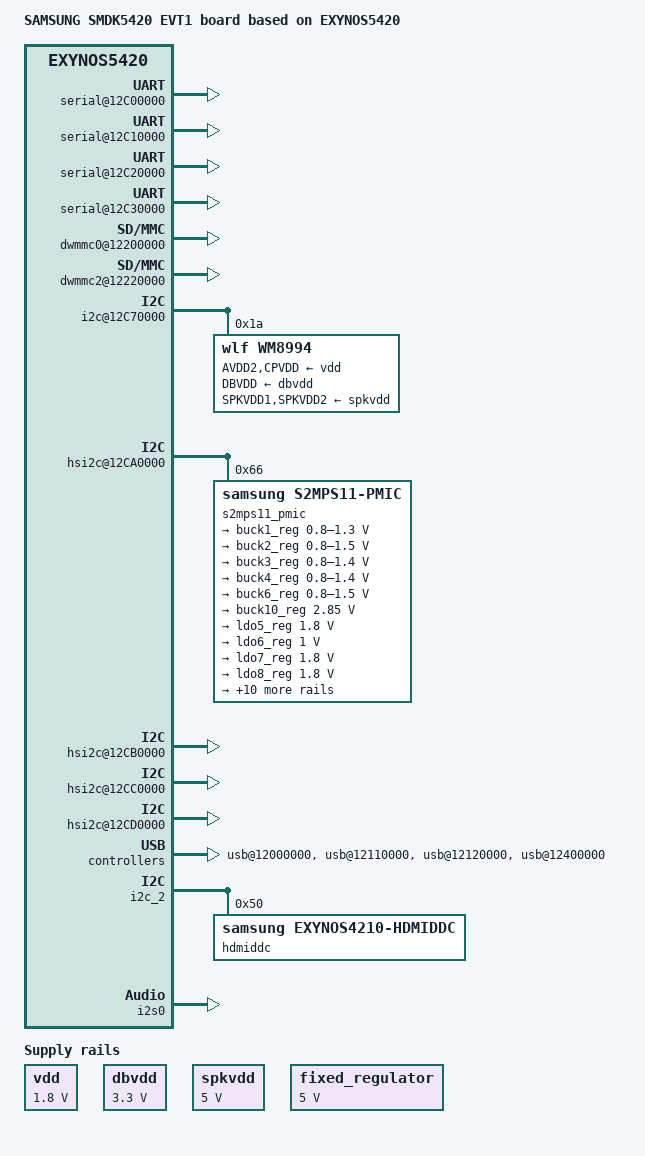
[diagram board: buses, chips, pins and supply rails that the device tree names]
/*
 * SAMSUNG SMDK5420 EVT1 board device tree source
 *
 * Copyright (c) 2013 Samsung Electronics Co., Ltd.
 *		http://www.samsung.com
 *
 * This program is free software; you can redistribute it and/or modify
 * it under the terms of the GNU General Public License version 2 as
 * published by the Free Software Foundation.
*/

/dts-v1/;
#include "exynos5420.dtsi"

/ {
	model = "SAMSUNG SMDK5420 EVT1 board based on EXYNOS5420";
	compatible = "samsung,smdk5420", "samsung,exynos5420";

	chosen {
		bootargs = "console=ttySAC3,115200";
	};

	fixed-rate-clocks {
		xxti {
			compatible = "samsung,clock-xxti";
			clock-frequency = <24000000>;
		};
	};

	watchdog {
		status = "okay";
	};

	rtc {
		status = "okay";
	};

	serial@12C00000 {
		status = "okay";
	};

	serial@12C10000 {
		status = "okay";
	};

	serial@12C20000 {
		status = "okay";
	};

	serial@12C30000 {
		status = "okay";
	};

	dwmmc0@12200000 {
		status = "okay";
		num-slots = <1>;
		broken-cd;
		bypass-smu;
		supports-highspeed;
		supports-hs200-mode; /* 200 Mhz */
		fifo-depth = <0x40>;
		card-detect-delay = <200>;
		samsung,dw-mshc-ciu-div = <3>;
		samsung,dw-mshc-sdr-timing = <0 4>;
		samsung,dw-mshc-ddr-timing = <0 2>;
		pinctrl-names = "default";
		pinctrl-0 = <&sd0_clk &sd0_cmd &sd0_bus4 &sd0_bus8>;

		slot@0 {
			reg = <0>;
			bus-width = <8>;
		};
	};

	dwmmc2@12220000 {
		status = "okay";
		num-slots = <1>;
		supports-highspeed;
		fifo-depth = <0x40>;
		card-detect-delay = <200>;
		samsung,dw-mshc-ciu-div = <3>;
		samsung,dw-mshc-sdr-timing = <2 3>;
		samsung,dw-mshc-ddr-timing = <1 2>;
		pinctrl-names = "default";
		pinctrl-0 = <&sd2_clk &sd2_cmd &sd2_cd &sd2_bus4>;

		slot@0 {
			reg = <0>;
			bus-width = <4>;
		};
	};

	vdd: fixed-regulator@0 {
		compatible = "regulator-fixed";
		regulator-name = "vdd-supply";
		regulator-min-microvolt = <1800000>;
		regulator-max-microvolt = <1800000>;
		regulator-always-on;
	};

	dbvdd: fixed-regulator@1 {
		compatible = "regulator-fixed";
		regulator-name = "dbvdd-supply";
		regulator-min-microvolt = <3300000>;
		regulator-max-microvolt = <3300000>;
		regulator-always-on;
	};

	spkvdd: fixed-regulator@2 {
		compatible = "regulator-fixed";
		regulator-name = "spkvdd-supply";
		regulator-min-microvolt = <5000000>;
		regulator-max-microvolt = <5000000>;
		regulator-always-on;
	};

	/* i2c1 */
	i2c@12C70000 {
		status = "okay";
		samsung,i2c-sda-delay = <100>;
		samsung,i2c-max-bus-freq = <20000>;

		wm8994: wm8994@1a {
			compatible = "wlf,wm8994";
			reg = <0x1a>;

			gpio-controller;
			#gpio-cells = <2>;

			AVDD2-supply = <&vdd>;
			CPVDD-supply = <&vdd>;
			DBVDD-supply = <&dbvdd>;
			SPKVDD1-supply = <&spkvdd>;
			SPKVDD2-supply = <&spkvdd>;
		};
	};

	/* hsi2c4 */
	hsi2c@12CA0000 {
		status = "okay";

		s2mps11_pmic@66 {
			compatible = "samsung,s2mps11-pmic";
			reg = <0x66>;
			s2mps11,buck2-ramp-delay = <12>;
			s2mps11,buck34-ramp-delay = <12>;
			s2mps11,buck16-ramp-delay = <12>;
			s2mps11,buck6-ramp-enable = <1>;
			s2mps11,buck2-ramp-enable = <1>;
			s2mps11,buck3-ramp-enable = <1>;
			s2mps11,buck4-ramp-enable = <1>;

			regulators {
				buck1_reg: BUCK1 {
					regulator-name = "vdd_mif";
					regulator-min-microvolt = <800000>;
					regulator-max-microvolt = <1300000>;
					regulator-always-on;
					regulator-boot-on;
				};

				buck2_reg: BUCK2 {
					regulator-name = "vdd_arm";
					regulator-min-microvolt = <800000>;
					regulator-max-microvolt = <1500000>;
					regulator-always-on;
					regulator-boot-on;
				};

				buck3_reg: BUCK3 {
					regulator-name = "vdd_int";
					regulator-min-microvolt = <800000>;
					regulator-max-microvolt = <1400000>;
					regulator-always-on;
					regulator-boot-on;
				};

				buck4_reg: BUCK4 {
					regulator-name = "vdd_g3d";
					regulator-min-microvolt = <800000>;
					regulator-max-microvolt = <1400000>;
					regulator-always-on;
					regulator-boot-on;
				};

				buck6_reg: BUCK6 {
					regulator-name = "vdd_kfc";
					regulator-min-microvolt = <800000>;
					regulator-max-microvolt = <1500000>;
					regulator-always-on;
					regulator-boot-on;
				};

				buck10_reg: BUCK10 {
					regulator-name = "vdd_vmem";
					regulator-min-microvolt = <2850000>;
					regulator-max-microvolt = <2850000>;
					regulator-always-on;
					regulator-boot-on;
				};

				ldo5_reg: LDO5 {
					regulator-name = "vdd_ldo5";
					regulator-min-microvolt = <1800000>;
					regulator-max-microvolt = <1800000>;
					regulator-always-on;
				};

				ldo6_reg: LDO6 {
					regulator-name = "vdd_ldo6";
					regulator-min-microvolt = <1000000>;
					regulator-max-microvolt = <1000000>;
					regulator-always-on;
				};

				ldo7_reg: LDO7 {
					regulator-name = "vdd_ldo7";
					regulator-min-microvolt = <1800000>;
					regulator-max-microvolt = <1800000>;
					regulator-always-on;
				};

				ldo8_reg: LDO8 {
					regulator-name = "vdd_ldo8";
					regulator-min-microvolt = <1800000>;
					regulator-max-microvolt = <1800000>;
					regulator-always-on;
				};

				ldo9_reg: LDO9 {
					regulator-name = "vdd_ldo9";
					regulator-min-microvolt = <3000000>;
					regulator-max-microvolt = <3000000>;
					regulator-always-on;
				};

				ldo10_reg: LDO10 {
					regulator-name = "vdd_ldo10";
					regulator-min-microvolt = <1800000>;
					regulator-max-microvolt = <1800000>;
					regulator-always-on;
				};

				ldo11_reg: LDO11 {
					regulator-name = "vdd_ldo11";
					regulator-min-microvolt = <1000000>;
					regulator-max-microvolt = <1000000>;
					regulator-always-on;
				};

				ldo12_reg: LDO12 {
					regulator-name = "vdd_ldo12";
					regulator-min-microvolt = <1800000>;
					regulator-max-microvolt = <1800000>;
					regulator-always-on;
				};

				ldo13_reg: LDO13 {
					regulator-name = "vdd_ldo13";
					regulator-min-microvolt = <2800000>;
					regulator-max-microvolt = <2800000>;
					regulator-always-on;
				};

				ldo15_reg: LDO15 {
					regulator-name = "vdd_ldo15";
					regulator-min-microvolt = <3100000>;
					regulator-max-microvolt = <3100000>;
					regulator-always-on;
				};

				ldo16_reg: LDO16 {
					regulator-name = "vdd_ldo16";
					regulator-min-microvolt = <2200000>;
					regulator-max-microvolt = <2200000>;
					regulator-always-on;
				};

				ldo17_reg: LDO17 {
					regulator-name = "tsp_avdd";
					regulator-min-microvolt = <3300000>;
					regulator-max-microvolt = <3300000>;
					regulator-always-on;
				};

				ldo19_reg: LDO19 {
					regulator-name = "vdd_sd";
					regulator-min-microvolt = <2800000>;
					regulator-max-microvolt = <2800000>;
					regulator-always-on;
				};


				ldo24_reg: LDO24 {
					regulator-name = "tsp_io";
					regulator-min-microvolt = <2800000>;
					regulator-max-microvolt = <2800000>;
					regulator-always-on;
				};
			};
		};
	};

	/* hsi2c5 */
	hsi2c@12CB0000 {
		status = "okay";
	};

	/* hsi2c6 */
	hsi2c@12CC0000 {
		status = "okay";
	};

	/* hsi2c7 */
	hsi2c@12CD0000 {
		status = "okay";
	};

	/* dw usb3_0 */
	usb@12000000 {
		status = "okay";
	};

	/* ehci */
	usb@12110000 {
		status = "okay";
	};

	/* ohci */
	usb@12120000 {
		status = "okay";
	};

	/* dw usb3_1 */
	usb@12400000 {
		status = "okay";
	};

	fimd {
		samsung,fimd-vidout-rgb;
		samsung,fimd-inv-vclk;
		samsung,default-window = <0>;
		samsung,cursor-window = <4>;
		samsung,fimd-win-bpp = <32>;
		samsung,fimd-src-clk-rate = <266000000>;
	};

	lcd_dp0: lcd_panel0 {
		lcd-htiming = <80 48 32 2560>;
		lcd-vtiming = <16 8 6 1600>;
		lcd-dimensions = <256 144>;
	};

	display-port-controller {
		samsung,dp-display = <&lcd_dp0>;
		samsung,dp-frame-rate = <60>;
		samsung,color-space = <0>;
		samsung,dynamic-range = <0>;
		samsung,ycbcr-coeff = <0>;
		samsung,color-depth = <1>;
		samsung,link-rate = <0x0a>;
		samsung,lane-count = <4>;
	};

	codec@11000000 {
		samsung,mfc-r = <0x43000000 0x800000>;
		samsung,mfc-l = <0x51000000 0x800000>;
	};

	hdmi {
		hpd-gpio = <&gpx3 7 0>;
		pinctrl-names = "default";
		pinctrl-0 = <&hdmi_hpd_irq>;
		hdmi-en-supply = <&fixed_regulator>;
		vdd-supply = <&ldo8_reg>;
		vdd_osc-supply = <&ldo10_reg>;
		vdd_pll-supply = <&ldo8_reg>;
	};

	fixed_regulator: fixedregulator@0 {
		compatible = "regulator-fixed";
		regulator-name = "hdmi-en";
		regulator-min-microvolt = <5000000>;
		regulator-max-microvolt = <5000000>;
	};

	i2c_2: i2c@12C80000 {
		samsung,i2c-sda-delay = <100>;
		samsung,i2c-max-bus-freq = <66000>;
		status = "okay";

		hdmiddc@50 {
			compatible = "samsung,exynos4210-hdmiddc";
			reg = <0x50>;
		};
	};

	i2s0: i2s@03830000 {
		status = "okay";
	};

	sound {
		compatible = "samsung,smdk-wm8994";

		samsung,i2s-controller = <&i2s0>;
		samsung,audio-codec = <&wm8994>;
	};
};
